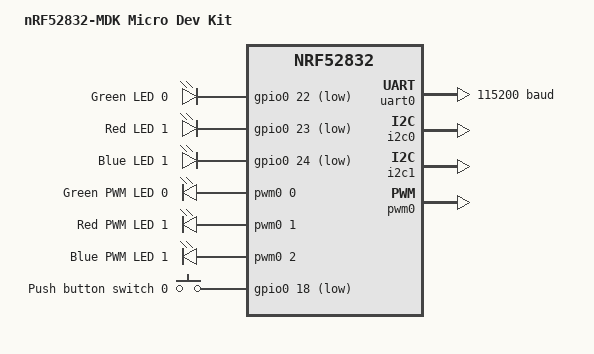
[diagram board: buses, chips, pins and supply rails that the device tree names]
/*
 * Copyright (c) 2018 Zelin <zelin@makerdiary.com>
 * Copyright (c) 2018 makerdiary.com.
 *
 * SPDX-License-Identifier: Apache-2.0
 */

/dts-v1/;
#include <nordic/nrf52832_qfaa.dtsi>
#include "nrf52832_mdk-pinctrl.dtsi"
#include <zephyr/dt-bindings/input/input-event-codes.h>

/ {
	model = "nRF52832-MDK Micro Dev Kit";
	compatible = "nrf52832-mdk";

	chosen {
		zephyr,console = &uart0;
		zephyr,shell-uart = &uart0;
		zephyr,uart-mcumgr = &uart0;
		zephyr,bt-mon-uart = &uart0;
		zephyr,bt-c2h-uart = &uart0;
		zephyr,sram = &sram0;
		zephyr,flash = &flash0;
		zephyr,code-partition = &slot0_partition;
	};

	leds {
		compatible = "gpio-leds";

		led0_green: led_0 {
			gpios = <&gpio0 22 GPIO_ACTIVE_LOW>;
			label = "Green LED 0";
		};

		led1_red: led_1 {
			gpios = <&gpio0 23 GPIO_ACTIVE_LOW>;
			label = "Red LED 1";
		};

		led2_blue: led_2 {
			gpios = <&gpio0 24 GPIO_ACTIVE_LOW>;
			label = "Blue LED 1";
		};
	};

	pwmleds {
		compatible = "pwm-leds";

		pwm_led0_green: pwm_led_0 {
			pwms = <&pwm0 0 PWM_MSEC(20) PWM_POLARITY_INVERTED>;
			label = "Green PWM LED 0";
		};

		pwm_led1_red: pwm_led_1 {
			pwms = <&pwm0 1 PWM_MSEC(20) PWM_POLARITY_INVERTED>;
			label = "Red PWM LED 1";
		};

		pwm_led2_blue: pwm_led_2 {
			pwms = <&pwm0 2 PWM_MSEC(20) PWM_POLARITY_INVERTED>;
			label = "Blue PWM LED 1";
		};
	};

	buttons {
		compatible = "gpio-keys";

		button0: button_0 {
			gpios = <&gpio0 18 (GPIO_PULL_UP | GPIO_ACTIVE_LOW)>;
			label = "Push button switch 0";
			zephyr,code = <INPUT_KEY_0>;
		};
	};

	/* These aliases are provided for compatibility with samples */
	aliases {
		sw0 = &button0;
		led0 = &led0_green;
		led1 = &led1_red;
		led2 = &led2_blue;
		led0-green = &led0_green;
		led1-red = &led1_red;
		led2-blue = &led2_blue;
		pwm-led0 = &pwm_led0_green;
		pwm-led1 = &pwm_led1_red;
		pwm-led2 = &pwm_led2_blue;
		green-pwm-led = &pwm_led0_green;
		red-pwm-led = &pwm_led1_red;
		blue-pwm-led = &pwm_led2_blue;
		watchdog0 = &wdt0;
	};
};

&reg {
	regulator-initial-mode = <NRF5X_REG_MODE_DCDC>;
};

&uicr {
	gpio-as-nreset;
};

&gpiote {
	status = "okay";
};

&gpio0 {
	status = "okay";
};

&uart0 {
	status = "okay";
	compatible = "nordic,nrf-uart";
	current-speed = <115200>;
	pinctrl-0 = <&uart0_default>;
	pinctrl-1 = <&uart0_sleep>;
	pinctrl-names = "default", "sleep";
};

&i2c0 {
	compatible = "nordic,nrf-twi";
	status = "okay";
	pinctrl-0 = <&i2c0_default>;
	pinctrl-1 = <&i2c0_sleep>;
	pinctrl-names = "default", "sleep";
};

&i2c1 {
	compatible = "nordic,nrf-twi";
	status = "okay";
	pinctrl-0 = <&i2c1_default>;
	pinctrl-1 = <&i2c1_sleep>;
	pinctrl-names = "default", "sleep";
};

&pwm0 {
	status = "okay";
	pinctrl-0 = <&pwm0_default>;
	pinctrl-1 = <&pwm0_sleep>;
	pinctrl-names = "default", "sleep";
};

&flash0 {
	partitions {
		compatible = "fixed-partitions";
		#address-cells = <1>;
		#size-cells = <1>;

		boot_partition: partition@0 {
			label = "mcuboot";
			reg = <0x00000000 0xc000>;
		};

		slot0_partition: partition@c000 {
			label = "image-0";
			reg = <0x0000C000 0x32000>;
		};

		slot1_partition: partition@3e000 {
			label = "image-1";
			reg = <0x0003E000 0x32000>;
		};

		scratch_partition: partition@70000 {
			label = "image-scratch";
			reg = <0x00070000 0xa000>;
		};

		storage_partition: partition@7a000 {
			label = "storage";
			reg = <0x0007a000 0x00006000>;
		};
	};
};
